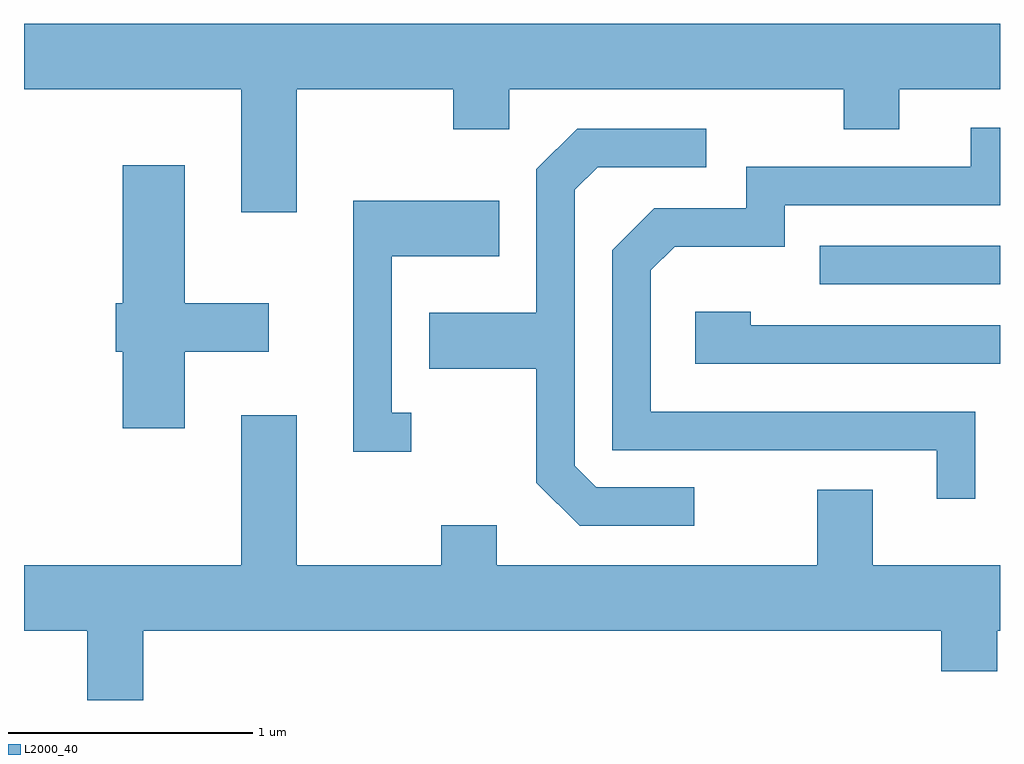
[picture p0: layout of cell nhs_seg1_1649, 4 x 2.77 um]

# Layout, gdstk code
import gdstk
lib = gdstk.Library(unit=1e-6, precision=1e-09)
def R(c, l, rs):  # rectangles x0, y0, x1, y1
    for r in rs: c.add(gdstk.rectangle(r[:2], r[2:], *l))
def P(c, l, *ps):  # polygons
    for p in ps: c.add(gdstk.Polygon(p, *l))
L2000_40 = (2000, 40)

nhs_seg1_1649 = lib.new_cell('nhs_seg1_1649')
R(nhs_seg1_1649, L2000_40, [(238.873,925.416,239.611,925.574)])
P(nhs_seg1_1649, L2000_40, [(236.729,926.216),(237.371,926.216),(237.371,926.051),(237.599,926.051),(237.599,926.216),(238.971,926.216),(238.971,926.051),(239.199,926.051),(239.199,926.216),(239.611,926.216),(239.611,926.484),(235.611,926.484),(235.611,926.216),(236.501,926.216),(236.501,925.711),(236.729,925.711)],
  [(239.509,924.894),(238.179,924.894),(238.179,925.474),(238.277,925.571),(238.729,925.571),(238.729,925.741),(239.611,925.741),(239.611,926.059),(239.491,926.059),(239.491,925.899),(238.571,925.899),(238.571,925.729),(238.194,925.729),(238.021,925.557),(238.021,924.736),(239.351,924.736),(239.351,924.538),(239.509,924.538)],
  [(238.358,924.584),(237.957,924.584),(237.869,924.672),(237.869,925.804),(237.962,925.896),(238.408,925.896),(238.408,926.054),(237.879,926.054),(237.711,925.887),(237.711,925.299),(237.271,925.299),(237.271,925.071),(237.711,925.071),(237.711,924.604),(237.889,924.426),(238.358,924.426)],
  [(236.269,925.141),(236.614,925.141),(236.614,925.339),(236.269,925.339),(236.269,925.904),(236.016,925.904),(236.016,925.339),(235.986,925.339),(235.986,925.141),(236.016,925.141),(236.016,924.826),(236.269,924.826)],
  [(237.198,924.889),(237.119,924.889),(237.119,925.531),(237.559,925.531),(237.559,925.759),(236.961,925.759),(236.961,924.731),(237.198,924.731)],
  [(239.611,925.249),(238.589,925.249),(238.589,925.304),(238.361,925.304),(238.361,925.091),(239.611,925.091)],
  [(236.099,923.996),(239.371,923.996),(239.371,923.831),(239.599,923.831),(239.599,923.996),(239.611,923.996),(239.611,924.264),(239.089,924.264),(239.089,924.574),(238.861,924.574),(238.861,924.264),(237.549,924.264),(237.549,924.429),(237.321,924.429),(237.321,924.264),(236.729,924.264),(236.729,924.879),(236.501,924.879),(236.501,924.264),(235.611,924.264),(235.611,923.996),(235.871,923.996),(235.871,923.712),(236.099,923.712)])

lib.write_gds('nhs_seg1_1649.gds')
